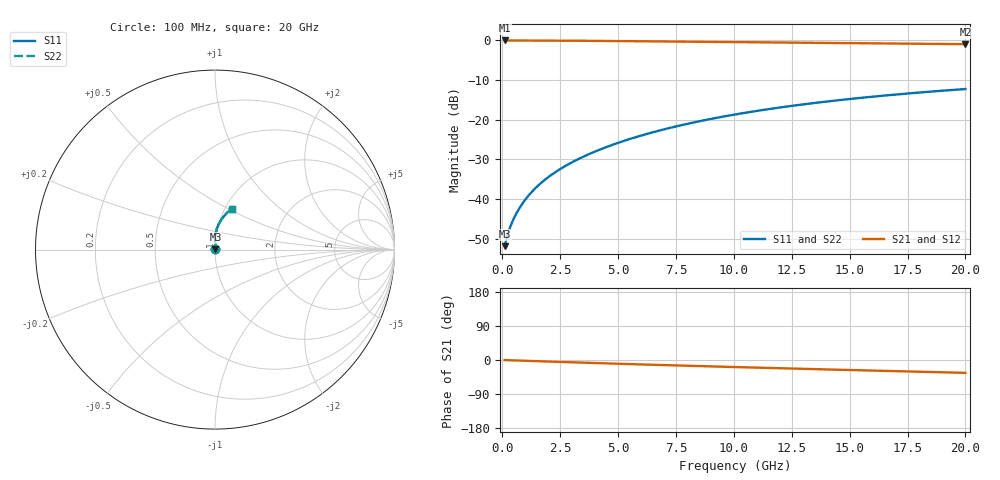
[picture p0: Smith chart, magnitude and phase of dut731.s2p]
! Touchstone file exported from HFSS 2024.1.0
!  File:  C:/UserFiles/LocalFiles/RDL_TSV_Batchsim/temp_RDL_top_731_1779851025.aedt
!  Generated:  11:06:22 AM May 27, 2026
!  Design:  RDL_top
!  Project:  temp_RDL_top_731_1779851025
!  Setup:  Setup1
!  Solution:  Sweep
! Variables:
!  dtsv = 10.80580581um
!  hbump = 3um
!  htsv = 99.6um
!  ldown = 100um
!  lrdl = 531.93um
!  p = 40
!  p1 = 42.51um
!  rhole = 1um
!  t = 450um
!  tdown = 3.915915916um
!  trdl = 3.63um
!  wdown = 15.38538539um
!  wrdl = 25.76um
# GHz S MA R 50.000000
! Terminal data exported
! Port[1] = Box2_T1
! Port[2] = Box2_T2
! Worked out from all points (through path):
!   200 points, 100 MHz to 20 GHz, reference 50 ohm
!   highest |S21| = -0.02 dB at 100 MHz (marker M1); lowest = -1.0 dB at 20 GHz (marker M2)
!   group delay of S21, straight-line fit = 4.65 ps
!   lowest |S11| = -51.9 dB at 100 MHz (marker M3), VSWR 1.01, Z = 50.2 + j0.118 ohm
!   |S11| at or under -10 dB: start of sweep to end of sweep
!   |S22| runs from -51.9 to -12.3 dB; largest |S21 - S12| = 3.1e-15
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0.1  0.00255 27.5  0.9977 -0.2  0.9977 -0.2  0.00255 27.5
! Gamma 0 0 0 0
! Port Impedance 50 0 50 0
0.2  0.003307 42.7  0.9975 -0.4  0.9975 -0.4  0.003307 42.7
0.3  0.004118 51.1  0.9973 -0.6  0.9973 -0.6  0.004119 51.1
0.4  0.004918 56.7  0.9971 -0.8  0.9971 -0.8  0.004919 56.7
0.5  0.005716 61.0  0.997 -1.1  0.997 -1.1  0.005716 61.0
0.6  0.006523 64.5  0.9968 -1.3  0.9968 -1.3  0.006523 64.5
0.8  0.008179 69.9  0.9965 -1.7  0.9965 -1.7  0.008179 69.9
1  0.009891 73.7  0.9962 -2.1  0.9962 -2.1  0.009892 73.7
1.2  0.01165 76.5  0.9958 -2.5  0.9958 -2.5  0.01165 76.5
1.7  0.01621 81.3  0.9947 -3.5  0.9947 -3.5  0.01621 81.3
2.2  0.02097 84.2  0.9933 -4.5  0.9933 -4.5  0.02097 84.2
2.8  0.02693 86.5  0.9911 -5.7  0.9911 -5.7  0.02693 86.5
3.5  0.03423 88.1  0.9882 -7.0  0.9882 -7.0  0.03423 88.1
4.2  0.0419 89.0  0.9848 -8.4  0.9848 -8.4  0.04191 89.1
5  0.05111 89.5  0.9805 -9.9  0.9805 -9.9  0.05112 89.5
6.8  0.07331 89.0  0.9701 -13.1  0.9701 -13.1  0.07332 89.0
8.4  0.09424 87.3  0.9604 -15.9  0.9604 -15.9  0.09426 87.3
10.1  0.1171 84.8  0.9502 -18.7  0.9502 -18.7  0.1171 84.9
11.7  0.1387 82.2  0.9409 -21.3  0.9409 -21.3  0.1388 82.2
13.4  0.1615 79.3  0.9312 -24.0  0.9312 -24.0  0.1615 79.3
16.7  0.2041 73.4  0.9132 -29.0  0.9132 -29.0  0.2041 73.4
20  0.2438 67.7  0.8958 -33.9  0.8958 -33.9  0.2439 67.7
